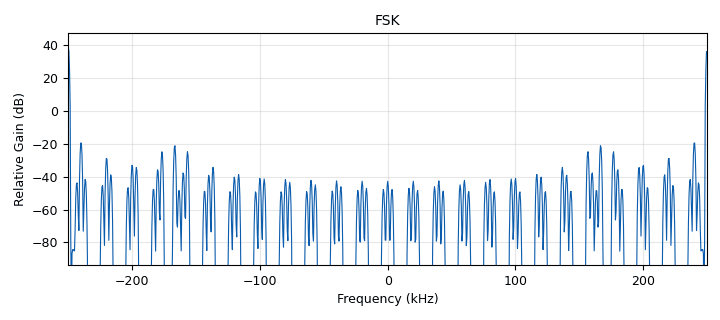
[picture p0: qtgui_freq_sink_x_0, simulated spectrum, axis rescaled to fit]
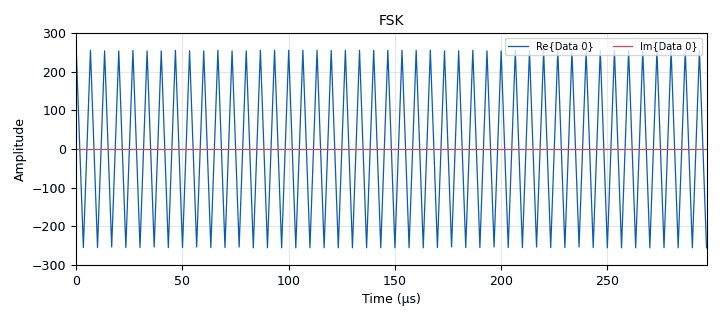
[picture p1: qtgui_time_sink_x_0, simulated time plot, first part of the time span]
options:
  parameters:
    author: Leandro
    generate_options: qt_gui
    id: FSK_P
    output_language: python
    title: Not titled yet
  states: {}

blocks:
- name: samp_rate
  id: variable
  parameters:
    value: '300000'
  states: {}
- name: analog_sig_source_x_0
  id: analog_sig_source_x
  parameters:
    amp: '1'
    freq: '100000'
    offset: '0'
    phase: '0'
    samp_rate: samp_rate
    type: float
    waveform: analog.GR_COS_WAVE
  states: {}
- name: analog_sig_source_x_0_0
  id: analog_sig_source_x
  parameters:
    amp: '1'
    freq: '150000'
    offset: '0'
    phase: '0'
    samp_rate: samp_rate
    type: float
    waveform: analog.GR_COS_WAVE
  states: {}
- name: analog_sig_source_x_0_2
  id: analog_sig_source_x
  parameters:
    amp: '1'
    freq: '10000'
    offset: '0'
    phase: '0'
    samp_rate: '500000'
    type: byte
    waveform: analog.GR_SQR_WAVE
  states: {}
- name: blocks_add_xx_0
  id: blocks_add_xx
  parameters:
    type: float
  states: {}
- name: blocks_float_to_complex_0
  id: blocks_float_to_complex
  parameters: {}
  states: {}
- name: blocks_multiply_xx_0
  id: blocks_multiply_xx
  parameters:
    type: float
  states: {}
- name: blocks_multiply_xx_0_0
  id: blocks_multiply_xx
  parameters:
    type: float
  states: {}
- name: blocks_not_xx_0
  id: blocks_not_xx
  parameters:
    type: byte
  states: {}
- name: blocks_uchar_to_float_0
  id: blocks_uchar_to_float
  parameters: {}
  states: {}
- name: blocks_uchar_to_float_1
  id: blocks_uchar_to_float
  parameters: {}
  states: {}
- name: qtgui_freq_sink_x_0
  id: qtgui_freq_sink_x
  parameters:
    bw: '500000'
    fc: '0'
    fftsize: '1024'
    name: FSK
    type: complex
  states: {}
- name: qtgui_time_sink_x_0
  id: qtgui_time_sink_x
  parameters:
    name: FSK
    size: '1024'
    srate: samp_rate
    type: complex
    ymax: '300'
    ymin: '-300'
  states: {}

connections:
- [analog_sig_source_x_0, '0', blocks_multiply_xx_0, '0']
- [analog_sig_source_x_0_0, '0', blocks_multiply_xx_0_0, '1']
- [analog_sig_source_x_0_2, '0', blocks_not_xx_0, '0']
- [analog_sig_source_x_0_2, '0', blocks_uchar_to_float_0, '0']
- [blocks_add_xx_0, '0', blocks_float_to_complex_0, '0']
- [blocks_float_to_complex_0, '0', qtgui_freq_sink_x_0, '0']
- [blocks_float_to_complex_0, '0', qtgui_time_sink_x_0, '0']
- [blocks_multiply_xx_0, '0', blocks_add_xx_0, '0']
- [blocks_multiply_xx_0_0, '0', blocks_add_xx_0, '1']
- [blocks_not_xx_0, '0', blocks_uchar_to_float_1, '0']
- [blocks_uchar_to_float_0, '0', blocks_multiply_xx_0, '1']
- [blocks_uchar_to_float_1, '0', blocks_multiply_xx_0_0, '0']

metadata:
  file_format: 1
  grc_version: 3.10.12.0
